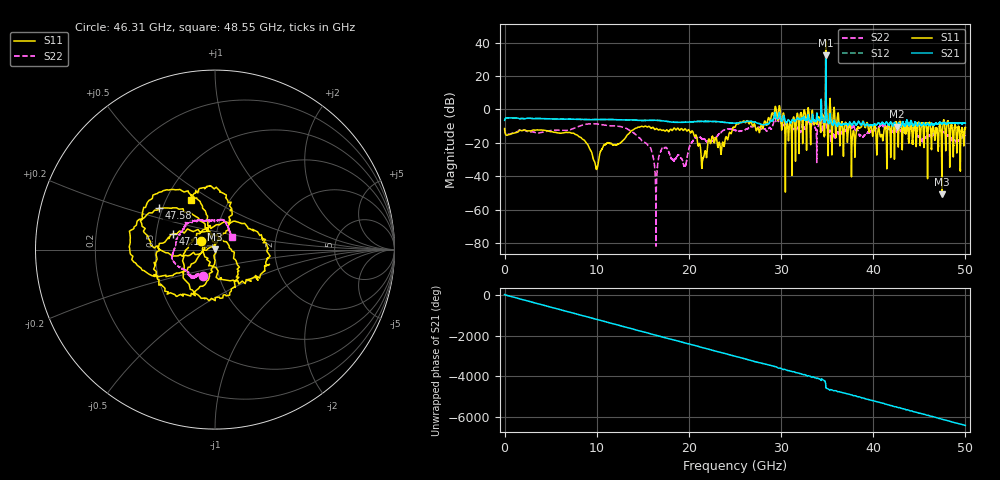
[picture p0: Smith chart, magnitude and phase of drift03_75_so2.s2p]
!Created with skrf (http://scikit-rf.org).
# Hz S RI R 50.0
!freq ReS11 ImS11 ReS21 ImS21 ReS12 ImS12 ReS22 ImS22
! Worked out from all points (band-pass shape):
!   10001 points, 300 kHz to 50 GHz, reference 50 ohm
!   highest |S21| = 32.45 dB at 34.85 GHz (marker M1); lowest = -10.3 dB at 42.55 GHz (marker M2)
!   |S21| within 3 dB of the highest: 34.84415 GHz to 34.84578 GHz (1.625 MHz wide, 0.00466 % of centre)
!   lowest |S11| = -50.9 dB at 47.44 GHz (marker M3), VSWR 1.01, Z = 49.8 + j0.224 ohm
!   |S11| at or under -10 dB: start of sweep to 15.23 GHz; 15.31 GHz to 25.05 GHz (9.741 GHz wide, 48.3 % of centre); 40.22 GHz to 41.62 GHz (1.396 GHz wide, 3.41 % of centre) (the widest 3 of 51)
!   |S22| runs from -81.8 to 23.5 dB; largest |S21 - S12| = 5.9
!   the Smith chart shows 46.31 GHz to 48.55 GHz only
!   S11 on the Smith chart (normalised r, x): 46.31 GHz: 0.85, +0.08; 47.15 GHz: 0.62, +0.12; 47.58 GHz: 0.48, +0.26; 48.55 GHz: 0.66, +0.41
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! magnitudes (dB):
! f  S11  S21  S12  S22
! 300 kHz  -11.4  -6.5  -6.5  -11.4
! 8.335 GHz  -17.1  -6.0  -6.0  -9.6
! 9.955 GHz  -35.7  -6.1  -6.1  -8.7
! 13.82 GHz  -12.5  -6.3  -6.3  -13.4
! 16.67 GHz  -12.3  -6.5  -6.5  -30.3
! 17.34 GHz  -12.7  -6.9  -6.9  -22.9
! 19.55 GHz  -11.6  -7.6  -7.6  -33.7
! 20.21 GHz  -13.8  -7.4  -7.5  -20.5
! 21.55 GHz  -28.8  -7.2  -7.1  -17.7
! 25 GHz  -10.6  -8.2  -8.2  -12.5
! 33.34 GHz  -3.9  -6.8  -6.7  -9.2
! 34.85 GHz  41.3  32.5  32.2  23.5
! 37.83 GHz  -12.9  -8.2  -8.3  -9.6
! 39.07 GHz  -10.2  -9.4  -9.4  -15.4
! 41.67 GHz  -9.1  -9.4  -9.3  -11.4
! 42.55 GHz  -8.4  -10.3  -10.4  -13.3
! 46.31 GHz  -20.6  -8.5  -8.5  -15.8
! 47.15 GHz  -12.1  -8.2  -8.2  -12.3
! 47.44 GHz  -50.9  -8.5  -8.5  -13.4
! 47.58 GHz  -8.2  -8.2  -8.2  -13.3
! 48.55 GHz  -10.2  -8.1  -8.2  -18.5
! 50 GHz  -10.9  -8.2  -8.3  -15.6
